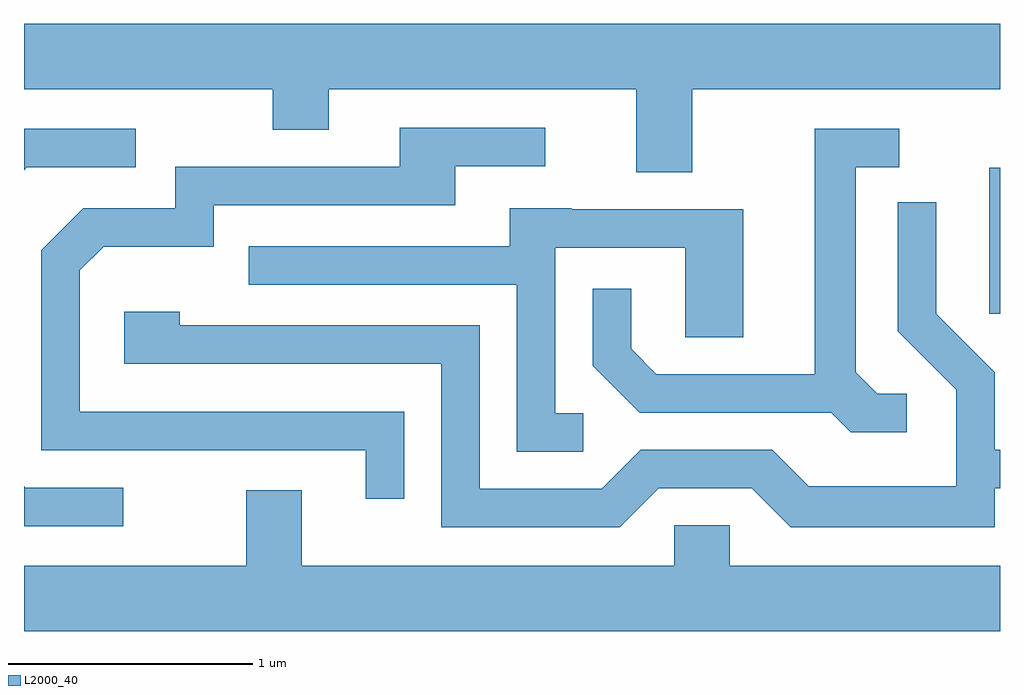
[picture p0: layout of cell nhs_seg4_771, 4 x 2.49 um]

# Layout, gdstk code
import gdstk
lib = gdstk.Library(unit=1e-6, precision=1e-09)
def R(c, l, rs):  # rectangles x0, y0, x1, y1
    for r in rs: c.add(gdstk.rectangle(r[:2], r[2:], *l))
def P(c, l, *ps):  # polygons
    for p in ps: c.add(gdstk.Polygon(p, *l))
L2000_40 = (2000, 40)

nhs_seg4_771 = lib.new_cell('nhs_seg4_771')
R(nhs_seg4_771, L2000_40, [(211.566,1302.696,211.611,1303.294)])
P(nhs_seg4_771, L2000_40, [(210.349,1303.616),(211.611,1303.616),(211.611,1303.884),(207.611,1303.884),(207.611,1303.616),(208.631,1303.616),(208.631,1303.451),(208.859,1303.451),(208.859,1303.616),(210.121,1303.616),(210.121,1303.276),(210.349,1303.276)],
  [(209.169,1302.294),(207.839,1302.294),(207.839,1302.874),(207.937,1302.971),(208.389,1302.971),(208.389,1303.141),(209.379,1303.141),(209.379,1303.301),(209.748,1303.301),(209.748,1303.459),(209.151,1303.459),(209.151,1303.299),(208.231,1303.299),(208.231,1303.129),(207.854,1303.129),(207.681,1302.957),(207.681,1302.136),(209.011,1302.136),(209.011,1301.938),(209.169,1301.938)],
  [(207.622,1303.296),(208.068,1303.296),(208.068,1303.454),(207.611,1303.454),(207.611,1303.285)],
  [(211.228,1302.369),(211.107,1302.369),(211.019,1302.457),(211.019,1303.296),(211.198,1303.296),(211.198,1303.454),(210.851,1303.454),(210.851,1302.449),(210.202,1302.449),(210.099,1302.552),(210.099,1302.798),(209.941,1302.798),(209.941,1302.484),(210.134,1302.291),(210.919,1302.291),(210.999,1302.211),(211.228,1302.211)],
  [(210.212,1301.981),(210.594,1301.981),(210.754,1301.821),(211.589,1301.821),(211.589,1301.981),(211.611,1301.981),(211.611,1302.139),(211.589,1302.139),(211.589,1302.457),(211.349,1302.697),(211.349,1303.153),(211.191,1303.153),(211.191,1302.624),(211.431,1302.384),(211.431,1301.989),(210.827,1301.989),(210.677,1302.139),(210.139,1302.139),(209.979,1301.979),(209.479,1301.979),(209.479,1302.649),(208.249,1302.649),(208.249,1302.704),(208.021,1302.704),(208.021,1302.491),(209.321,1302.491),(209.321,1301.821),(210.052,1301.821)],
  [(209.903,1302.289),(209.789,1302.289),(209.789,1302.966),(210.321,1302.966),(210.321,1302.601),(210.559,1302.601),(210.559,1303.124),(209.855,1303.124),(209.855,1303.129),(209.601,1303.129),(209.601,1302.974),(208.533,1302.974),(208.533,1302.816),(209.631,1302.816),(209.631,1302.131),(209.903,1302.131)],
  [(208.018,1301.984),(207.617,1301.984),(207.611,1301.99),(207.611,1301.826),(208.018,1301.826)],
  [(211.611,1301.664),(210.504,1301.664),(210.504,1301.829),(210.276,1301.829),(210.276,1301.664),(208.749,1301.664),(208.749,1301.974),(208.521,1301.974),(208.521,1301.664),(207.611,1301.664),(207.611,1301.396),(211.611,1301.396)])

lib.write_gds('nhs_seg4_771.gds')
